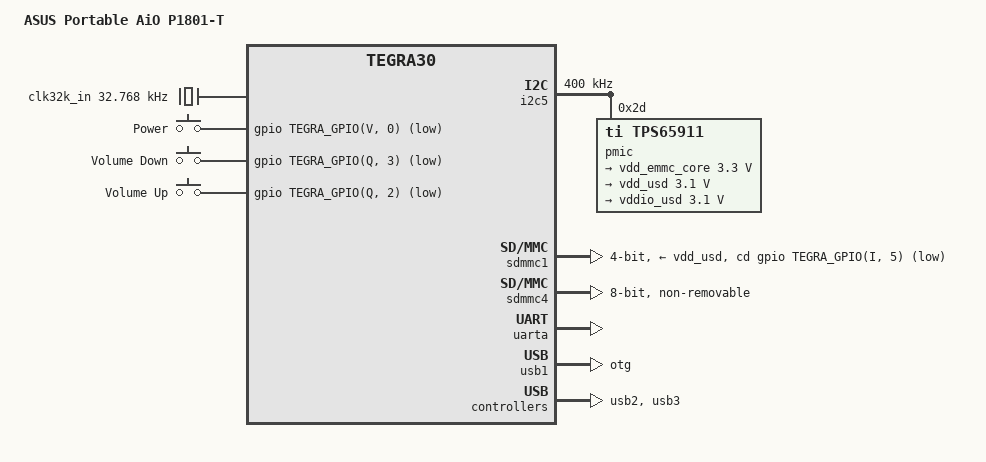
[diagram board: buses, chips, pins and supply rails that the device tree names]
// SPDX-License-Identifier: GPL-2.0
/dts-v1/;

#include <dt-bindings/input/input.h>

#include "tegra30.dtsi"

/ {
	model = "ASUS Portable AiO P1801-T";
	compatible = "asus,p1801-t", "nvidia,tegra30";

	/* PMIC has a built-in 32KHz oscillator which is used by PMC */
	clk32k_in: clock-32k {
		compatible = "fixed-clock";
		#clock-cells = <0>;
		clock-frequency = <32768>;
		clock-output-names = "pmic-oscillator";
	};

	gpio-keys {
		compatible = "gpio-keys";

		key-power {
			label = "Power";
			gpios = <&gpio TEGRA_GPIO(V, 0) GPIO_ACTIVE_LOW>;
			linux,code = <KEY_ENTER>;
		};

		key-volume-down {
			label = "Volume Down";
			gpios = <&gpio TEGRA_GPIO(Q, 3) GPIO_ACTIVE_LOW>;
			linux,code = <KEY_DOWN>;
		};

		key-volume-up {
			label = "Volume Up";
			gpios = <&gpio TEGRA_GPIO(Q, 2) GPIO_ACTIVE_LOW>;
			linux,code = <KEY_UP>;
		};
	};
};

&aliases {
	mmc0 = &sdmmc4;	/* eMMC */
	mmc1 = &sdmmc1; /* uSD slot */

	usb0 = &usb1;
	usb1 = &usb2; /* mini-USB port */
	usb2 = &usb3; /* Internal USB port */
};

&chosen {
	stdout-path = &uarta;
};

&i2c5 {
	status = "okay";
	clock-frequency = <400000>;

	/* Texas Instruments TPS659110 PMIC */
	pmic: tps65911@2d {
		compatible = "ti,tps65911";
		reg = <0x2d>;

		interrupts = <GIC_SPI 86 IRQ_TYPE_LEVEL_HIGH>;
		#interrupt-cells = <2>;
		interrupt-controller;

		ti,system-power-controller;

		#gpio-cells = <2>;
		gpio-controller;

		regulators {
			/* eMMC VDD */
			ldo1 {
				regulator-name = "vdd_emmc_core";
				regulator-min-microvolt = <3300000>;
				regulator-max-microvolt = <3300000>;
				regulator-always-on;
			};

			/* uSD slot VDD */
			vdd_usd: ldo2 {
				regulator-name = "vdd_usd";
				regulator-min-microvolt = <3100000>;
				regulator-max-microvolt = <3100000>;
			};

			/* uSD slot VDDIO */
			vddio_usd: ldo3 {
				regulator-name = "vddio_usd";
				regulator-min-microvolt = <3100000>;
				regulator-max-microvolt = <3100000>;
			};
		};
	};
};

&memory {
		reg = <0x80000000 0x80000000>;
};

&sdmmc1 {
	status = "okay";
	bus-width = <4>;

	cd-gpios = <&gpio TEGRA_GPIO(I, 5) GPIO_ACTIVE_LOW>;

	vmmc-supply = <&vdd_usd>;
	vqmmc-supply = <&vddio_usd>;
};

&sdmmc4 {
	status = "okay";
	bus-width = <8>;
	non-removable;
};

&uarta {
	status = "okay";
};

/* USB via ASUS connector */
&usb1 {
	status = "okay";
	dr_mode = "otg";
};

/* mini-USB port */
&usb2 {
	nvidia,vbus-gpio = <&gpio TEGRA_GPIO(H, 7) GPIO_ACTIVE_HIGH>;
	status = "okay";
};

/* Internal USB port */
&usb3 {
	status = "okay";
};
